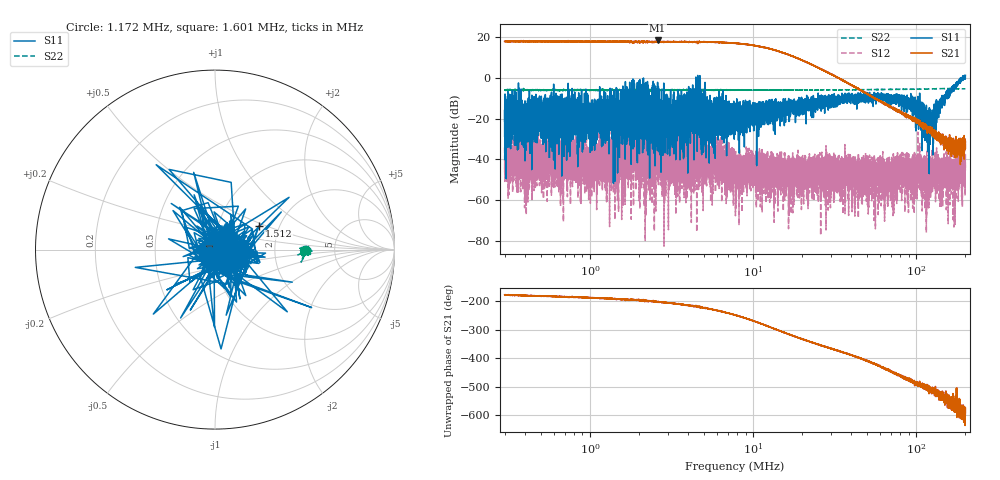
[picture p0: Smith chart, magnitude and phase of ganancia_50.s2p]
# Hz S DB R 50
! CMT, M5065, 19127446, 24.2.4/2
! Date: 11/1/2024 3:42:52 PM
! Data: Format (Calibration Info)
! Freq	S11:dB/Ang(F2)	S21:dB/Ang(F2)	S12:dB/Ang(F2)	S22:dB/Ang(F2)
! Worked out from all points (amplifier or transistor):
!   9000 points, 300 kHz to 200 MHz, reference 50 ohm
!   highest |S21| = 18.3 dB at 2.599 MHz (marker M1)
!   |S21| within 3 dB of that: start of sweep to 10.99 MHz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
!   unconditionally stable (mu >= 1): 4.963 MHz to 188.8 MHz; 189 MHz to 191.4 MHz; 191.8 MHz to 193.1 MHz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
!   at 886.8 kHz: K = 5.30, MAG = 19.1 dB, |S12| = -40.8 dB
!   at 7.749 MHz: K = 14.82, MAG = 18.4 dB, |S12| = -49.2 dB
!   at 200 MHz: K = -275.21, MSG = 2.7 dB, |S12| = -36.6 dB
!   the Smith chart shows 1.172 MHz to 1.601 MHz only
!   S11 on the Smith chart (normalised r, x): 1.172 MHz: 1.02, -0.16; 1.512 MHz: 1.57, +0.44; 1.601 MHz: 1.25, -0.07
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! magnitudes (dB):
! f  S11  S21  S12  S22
! 300 kHz  -21.2  17.8  -34.1  -6.1
! 319.7 kHz  -17.4  17.7  -36.5  -6.0
! 410.5 kHz  -20.4  17.8  -39.5  -6.0
! 585.7 kHz  -22.1  17.9  -23.1  -6.7
! 624.2 kHz  -15.5  17.8  -39.8  -6.0
! 886.8 kHz  -18.3  17.7  -40.8  -5.9
! 1.172 MHz  -21.9  17.8  -40.0  -6.0
! 1.512 MHz  -11.1  17.5  -40.1  -6.0
! 1.601 MHz  -18.8  17.7  -36.0  -5.8
! 2.458 MHz  -23.2  17.6  -47.6  -6.0
! 2.599 MHz  -2.2  18.3  -35.3  -6.1
! 2.621 MHz  -25.4  17.7  -43.9  -6.0
! 3.071 MHz  -17.4  17.6  -40.1  -5.9
! 4.666 MHz  -11.8  17.5  -17.3  -7.2
! 7.749 MHz  -14.8  17.0  -49.2  -6.0
! 22.91 MHz  -11.9  6.5  -48.9  -5.9
! 67.71 MHz  -10.9  -13.6  -45.1  -5.7
! 95.29 MHz  -11.4  -19.8  -37.7  -5.6
! 120.4 MHz  -29.1  -25.4  -46.8  -5.5
! 175.9 MHz  -3.5  -34.7  -39.4  -5.3
! 193.5 MHz  -0.2  -37.9  -46.9  -5.4
! 200 MHz  1.2  -31.2  -36.6  -5.4
